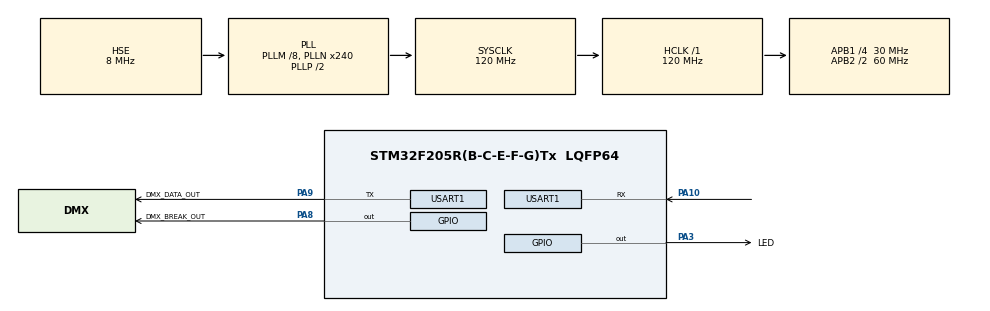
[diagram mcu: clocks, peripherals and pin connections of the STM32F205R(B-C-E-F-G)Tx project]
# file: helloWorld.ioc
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Mcu.Family=STM32F2
Mcu.Name=STM32F205R(B-C-E-F-G)Tx
Mcu.Package=LQFP64
NVIC.PriorityGroup=NVIC_PRIORITYGROUP_4
NVIC.TIM1_UP_TIM10_IRQn=true\:0\:0\:false\:false\:true\:true\:true
NVIC.USART1_IRQn=true\:0\:0\:false\:false\:true\:true\:true
PA10.Mode=Asynchronous
PA10.Signal=USART1_RX
PA3.GPIO_Label=LED
PA3.PinState=GPIO_PIN_SET
PA3.Signal=GPIO_Output
PA8.GPIO_Label=DMX_BREAK_OUT
PA8.GPIO_PuPd=GPIO_PULLUP
PA8.GPIO_Speed=GPIO_SPEED_FREQ_VERY_HIGH
PA8.PinState=GPIO_PIN_SET
PA8.Signal=GPIO_Output
PA9.GPIO_Label=DMX_DATA_OUT
PA9.Mode=Asynchronous
PA9.Signal=USART1_TX
PH0-OSC_IN.Mode=HSE-External-Oscillator
PH0-OSC_IN.Signal=RCC_OSC_IN
PH1-OSC_OUT.Mode=HSE-External-Oscillator
PH1-OSC_OUT.Signal=RCC_OSC_OUT
ProjectManager.HeapSize=0x200
ProjectManager.StackSize=0x400
ProjectManager.TargetToolchain=STM32CubeIDE
RCC.48MHZClocksFreq_Value=60000000
RCC.AHBFreq_Value=120000000
RCC.APB1CLKDivider=RCC_HCLK_DIV4
RCC.APB1Freq_Value=30000000
RCC.APB1TimFreq_Value=60000000
RCC.APB2CLKDivider=RCC_HCLK_DIV2
RCC.APB2Freq_Value=60000000
RCC.APB2TimFreq_Value=120000000
RCC.CortexFreq_Value=120000000
RCC.HCLKFreq_Value=120000000
RCC.HSE_VALUE=8000000
RCC.HSI_VALUE=16000000
RCC.LSE_VALUE=32768
RCC.PLLM=8
RCC.PLLN=240
RCC.PLLSourceVirtual=RCC_PLLSOURCE_HSE
RCC.SYSCLKFreq_VALUE=120000000
RCC.SYSCLKSource=RCC_SYSCLKSOURCE_PLLCLK
RCC.VCOOutputFreq_Value=240000000
TIM10.Period=119
TIM10.Prescaler=1
USART1.BaudRate=250000
USART1.Mode=MODE_TX
USART1.StopBits=STOPBITS_2
USART1.VirtualMode=VM_ASYNC
VP_TIM10_VS_ClockSourceINT.Mode=Enable_Timer
board=custom

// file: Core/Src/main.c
/* USER CODE BEGIN Header */
/**
  ******************************************************************************
  * @file           : main.c
  * @brief          : Main program body
  ******************************************************************************
  * @attention
  *
  * <h2><center>&copy; Copyright (c) 2020 STMicroelectronics.
  * All rights reserved.</center></h2>
  *
  * This software component is licensed by ST under BSD 3-Clause license,
  * the "License"; You may not use this file except in compliance with the
  * License. You may obtain a copy of the License at:
  *                        opensource.org/licenses/BSD-3-Clause
  *
  ******************************************************************************
  */
/* USER CODE END Header */
#include "main.h"

TIM_HandleTypeDef htim10;

UART_HandleTypeDef huart1;

/* USER CODE BEGIN PV */
static uint8_t dmxData[DMX_LENGTH_ARRAY];
static uint8_t curByte = 0;
static uint8_t curBit = 0;

enum State {
    Idle,
    SendingBreak,
    SendingMark,
    SendingStartBit,
    SendingData,
    SendingStopBits
} dmxState;

/* USER CODE END PV */

void SystemClock_Config(void);
static void MX_GPIO_Init(void);
static void MX_USART1_UART_Init(void);
static void MX_TIM10_Init(void);

/* USER CODE BEGIN 0 */
void SetTim10ToUs(uint32_t us) {
    htim10.Instance = TIM10;
    htim10.Init.Prescaler = us - 1;
    htim10.Init.CounterMode = TIM_COUNTERMODE_UP;
    htim10.Init.Period = 119;
    htim10.Init.ClockDivision = TIM_CLOCKDIVISION_DIV1;
    htim10.Init.AutoReloadPreload = TIM_AUTORELOAD_PRELOAD_DISABLE;

//    htim10.Init.Prescaler = us - 1;
    if (HAL_TIM_Base_Init(&htim10) != HAL_OK) {
        Error_Handler();
    }
}

void SendDataBit() {
    uint8_t shifted = dmxData[curByte] << curBit;
    uint8_t isHigh = shifted & 128U;
    if (isHigh)
        HAL_GPIO_WritePin(DMX_BREAK_OUT_GPIO_Port, DMX_BREAK_OUT_Pin, GPIO_PIN_SET);
    else
        HAL_GPIO_WritePin(DMX_BREAK_OUT_GPIO_Port, DMX_BREAK_OUT_Pin, GPIO_PIN_RESET);
}

/**
  * @brief This function handles TIM1 update interrupt and TIM10 global interrupt.
  */
void TIM1_UP_TIM10_IRQHandler(void) {
    /* USER CODE BEGIN TIM1_UP_TIM10_IRQn 0 */
    HAL_TIM_Base_Stop_IT(&htim10);
    switch (dmxState) {
        case SendingBreak:
            /* send mark after BREAK */
            dmxState = SendingMark;
            curByte = 0;
            HAL_GPIO_WritePin(DMX_BREAK_OUT_GPIO_Port, DMX_BREAK_OUT_Pin, GPIO_PIN_SET);
            SetTim10ToUs(DMX_LENGTH_MAB);
            break;
        case SendingMark:
            /* send start bit (0) */
            dmxState = SendingStartBit;
            HAL_GPIO_WritePin(DMX_BREAK_OUT_GPIO_Port, DMX_BREAK_OUT_Pin, GPIO_PIN_RESET);
            SetTim10ToUs(DMX_LENGTH_BIT);
            break;
        case SendingStartBit:
            /* send first bit */
            dmxState = SendingData;
            curBit = 0;
            SendDataBit();
            SetTim10ToUs(DMX_LENGTH_BIT);
            break;
        case SendingData:
            if (curBit < 8) {
                /* send next bit */
                curBit++;
                SendDataBit();
                SetTim10ToUs(DMX_LENGTH_BIT);
            } else {
                /* send two stop bits and mark between slots (4 + 4 + 20) */
                dmxState = SendingStopBits;
                HAL_GPIO_WritePin(DMX_BREAK_OUT_GPIO_Port, DMX_BREAK_OUT_Pin, GPIO_PIN_SET);
                SetTim10ToUs(DMX_LENGTH_BIT * 2 + DMX_LENGTH_MBS);
            }
            break;
        case SendingStopBits:
            curByte++;
            if (curByte < DMX_LENGTH_ARRAY) {
                /* send start bit (0) */
                dmxState = SendingStartBit;
                HAL_GPIO_WritePin(DMX_BREAK_OUT_GPIO_Port, DMX_BREAK_OUT_Pin, GPIO_PIN_RESET);
                SetTim10ToUs(DMX_LENGTH_BIT);
            } else {
                /* send mark before break */
                dmxState = Idle;
                SetTim10ToUs(DMX_LENGTH_MBB);
            }
            break;
    }
    HAL_TIM_Base_Start_IT(&htim10);

    /* USER CODE END TIM1_UP_TIM10_IRQn 0 */
    HAL_TIM_IRQHandler(&htim10);
    /* USER CODE BEGIN TIM1_UP_TIM10_IRQn 1 */
    /* USER CODE END TIM1_UP_TIM10_IRQn 1 */
}

void DMX_Send_Packet() {
    /* send BREAK */
    dmxState = SendingBreak;
    HAL_GPIO_WritePin(DMX_BREAK_OUT_GPIO_Port, DMX_BREAK_OUT_Pin, GPIO_PIN_RESET);
    SetTim10ToUs(DMX_LENGTH_BREAK);
    HAL_TIM_Base_Start_IT(&htim10);
}
/* USER CODE END 0 */

int main(void)
{

  /* MCU Configuration--------------------------------------------------------*/

  /* Reset of all peripherals, Initializes the Flash interface and the Systick. */
  HAL_Init();

  /* Configure the system clock */
  SystemClock_Config();

  /* Initialize all configured peripherals */
  MX_GPIO_Init();
  MX_USART1_UART_Init();
  MX_TIM10_Init();
  /* USER CODE BEGIN 2 */
//    clrDmxData();

    /* Enable the UART Parity Error Interrupt */
    __HAL_UART_ENABLE_IT(&huart1, UART_IT_PE);

    /* Enable the UART Error Interrupt: (Frame error, noise error, overrun error) */
    __HAL_UART_ENABLE_IT(&huart1, UART_IT_ERR);

    /* Enable the UART Data Register not empty Interrupt */
    __HAL_UART_ENABLE_IT(&huart1, UART_IT_RXNE);

    uint8_t brig = 0;
    dmxData[0] = 255;
    dmxData[1] = 255;
  /* USER CODE END 2 */

  /* Infinite loop */
    while (1) {

    /* USER CODE BEGIN 3 */
        if (dmxState == Idle) {
            HAL_Delay(600);
//            if (!(brig > 245)) {
//                brig += 10;
//            }
//            dmxData[0] = brig;
            DMX_Send_Packet();
//    HAL_Delay(20);      //Mark time after Slot
        }
//        HAL_GPIO_WritePin(LED1_GPIO_Port, LED1_Pin, GPIO_PIN_RESET);
//        HAL_UART_Transmit(&huart1, data2, sizeof(data2), HAL_MAX_DELAY);
//        HAL_GPIO_WritePin(LED1_GPIO_Port, LED1_Pin, GPIO_PIN_SET);
    }
  /* USER CODE END 3 */
}

void SystemClock_Config(void)
{
  RCC_OscInitTypeDef RCC_OscInitStruct = {0};
  RCC_ClkInitTypeDef RCC_ClkInitStruct = {0};

  /** Initializes the RCC Oscillators according to the specified parameters
  * in the RCC_OscInitTypeDef structure.
  */
  RCC_OscInitStruct.OscillatorType = RCC_OSCILLATORTYPE_HSE;
  RCC_OscInitStruct.HSEState = RCC_HSE_ON;
  RCC_OscInitStruct.PLL.PLLState = RCC_PLL_ON;
  RCC_OscInitStruct.PLL.PLLSource = RCC_PLLSOURCE_HSE;
  RCC_OscInitStruct.PLL.PLLM = 8;
  RCC_OscInitStruct.PLL.PLLN = 240;
  RCC_OscInitStruct.PLL.PLLP = RCC_PLLP_DIV2;
  RCC_OscInitStruct.PLL.PLLQ = 4;
  if (HAL_RCC_OscConfig(&RCC_OscInitStruct) != HAL_OK)
  {
    Error_Handler();
  }
  /** Initializes the CPU, AHB and APB buses clocks
  */
  RCC_ClkInitStruct.ClockType = RCC_CLOCKTYPE_HCLK|RCC_CLOCKTYPE_SYSCLK
                              |RCC_CLOCKTYPE_PCLK1|RCC_CLOCKTYPE_PCLK2;
  RCC_ClkInitStruct.SYSCLKSource = RCC_SYSCLKSOURCE_PLLCLK;
  RCC_ClkInitStruct.AHBCLKDivider = RCC_SYSCLK_DIV1;
  RCC_ClkInitStruct.APB1CLKDivider = RCC_HCLK_DIV4;
  RCC_ClkInitStruct.APB2CLKDivider = RCC_HCLK_DIV2;

  if (HAL_RCC_ClockConfig(&RCC_ClkInitStruct, FLASH_LATENCY_3) != HAL_OK)
  {
    Error_Handler();
  }
}

static void MX_TIM10_Init(void)
{

  htim10.Instance = TIM10;
  htim10.Init.Prescaler = 1;
  htim10.Init.CounterMode = TIM_COUNTERMODE_UP;
  htim10.Init.Period = 119;
  htim10.Init.ClockDivision = TIM_CLOCKDIVISION_DIV1;
  htim10.Init.AutoReloadPreload = TIM_AUTORELOAD_PRELOAD_DISABLE;
  if (HAL_TIM_Base_Init(&htim10) != HAL_OK)
  {
    Error_Handler();
  }

}

static void MX_USART1_UART_Init(void)
{

  huart1.Instance = USART1;
  huart1.Init.BaudRate = 250000;
  huart1.Init.WordLength = UART_WORDLENGTH_8B;
  huart1.Init.StopBits = UART_STOPBITS_2;
  huart1.Init.Parity = UART_PARITY_NONE;
  huart1.Init.Mode = UART_MODE_TX;
  huart1.Init.HwFlowCtl = UART_HWCONTROL_NONE;
  huart1.Init.OverSampling = UART_OVERSAMPLING_16;
  if (HAL_UART_Init(&huart1) != HAL_OK)
  {
    Error_Handler();
  }

}

static void MX_GPIO_Init(void)
{
  GPIO_InitTypeDef GPIO_InitStruct = {0};

  /* GPIO Ports Clock Enable */
  __HAL_RCC_GPIOH_CLK_ENABLE();
  __HAL_RCC_GPIOA_CLK_ENABLE();

  /*Configure GPIO pin Output Level */
  HAL_GPIO_WritePin(GPIOA, LED_Pin|DMX_BREAK_OUT_Pin, GPIO_PIN_SET);

  /*Configure GPIO pin : LED_Pin */
  GPIO_InitStruct.Pin = LED_Pin;
  GPIO_InitStruct.Mode = GPIO_MODE_OUTPUT_PP;
  GPIO_InitStruct.Pull = GPIO_NOPULL;
  GPIO_InitStruct.Speed = GPIO_SPEED_FREQ_LOW;
  HAL_GPIO_Init(LED_GPIO_Port, &GPIO_InitStruct);

  /*Configure GPIO pin : DMX_BREAK_OUT_Pin */
  GPIO_InitStruct.Pin = DMX_BREAK_OUT_Pin;
  GPIO_InitStruct.Mode = GPIO_MODE_OUTPUT_PP;
  GPIO_InitStruct.Pull = GPIO_PULLUP;
  GPIO_InitStruct.Speed = GPIO_SPEED_FREQ_VERY_HIGH;
  HAL_GPIO_Init(DMX_BREAK_OUT_GPIO_Port, &GPIO_InitStruct);

}

void Error_Handler(void)
{
    __disable_irq();
    while (1) {
    }
}

/************************ (C) COPYRIGHT STMicroelectronics *****END OF FILE****/
